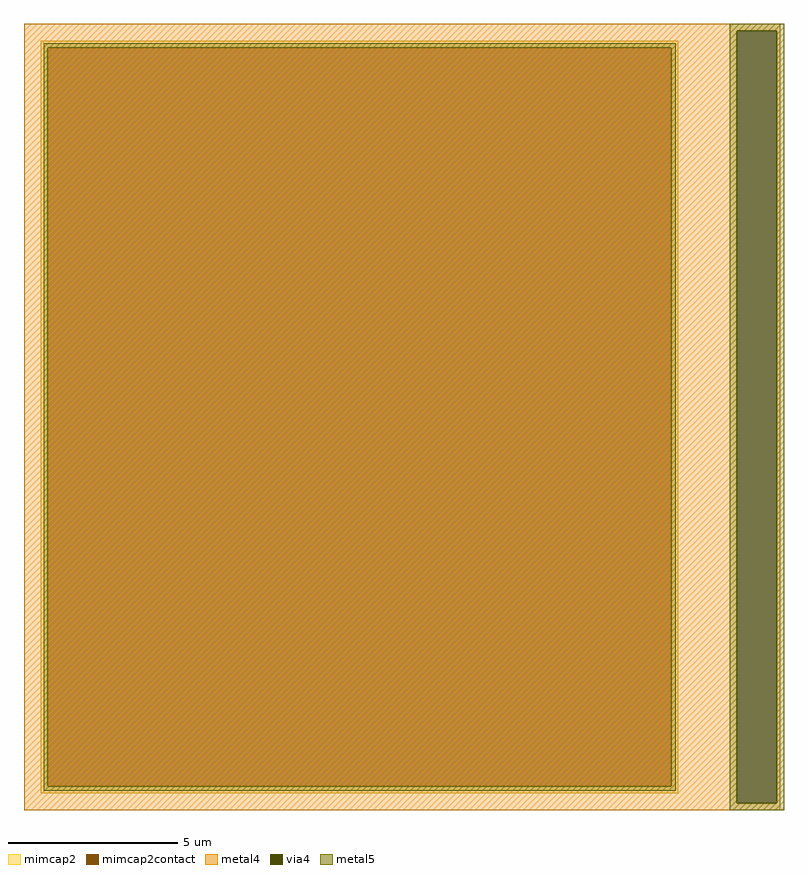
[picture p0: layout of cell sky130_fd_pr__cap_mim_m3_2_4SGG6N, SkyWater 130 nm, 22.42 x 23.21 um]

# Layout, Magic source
magic
tech sky130A
magscale 1 2
<< metal4 >>
rect -2231 2279 2231 2320
rect -2231 -2279 1975 2279
rect 2211 -2279 2231 2279
rect -2231 -2320 2231 -2279
<< via4 >>
rect 1975 -2279 2211 2279
<< mimcap2 >>
rect -2131 2180 1629 2220
rect -2131 -2180 -2091 2180
rect 1589 -2180 1629 2180
rect -2131 -2220 1629 -2180
<< mimcap2contact >>
rect -2091 -2180 1589 2180
<< metal5 >>
rect 1933 2279 2253 2321
rect -2115 2180 1613 2204
rect -2115 -2180 -2091 2180
rect 1589 -2180 1613 2180
rect -2115 -2204 1613 -2180
rect 1933 -2279 1975 2279
rect 2211 -2279 2253 2279
rect 1933 -2321 2253 -2279
<< properties >>
string gencell sky130_fd_pr__cap_mim_m3_2
string FIXED_BBOX -2231 -2320 1729 2320
string parameters w 18.8 l 22.2 val 850.3 carea 2.00 cperi 0.19 nx 1 ny 1 dummy 0 square 0 lmin 2.00 wmin 2.00 lmax 30.0 wmax 30.0 dc 0 bconnect 1 tconnect 1 ccov 100
string library sky130
<< end >>
